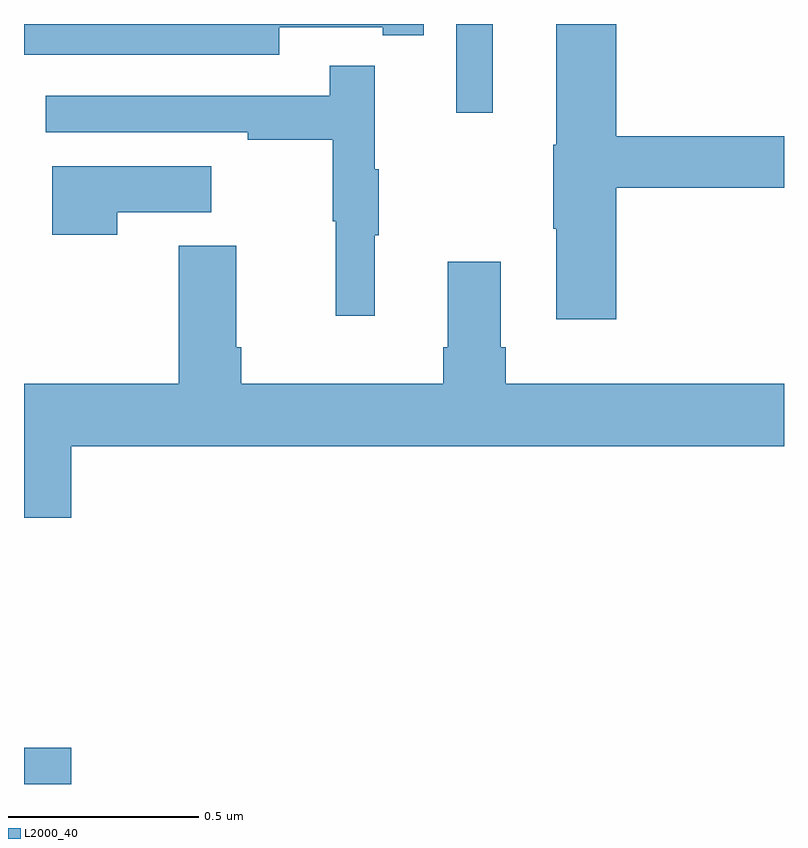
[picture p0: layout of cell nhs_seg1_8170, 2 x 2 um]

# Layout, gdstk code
import gdstk
lib = gdstk.Library(unit=1e-6, precision=1e-09)
def R(c, l, rs):  # rectangles x0, y0, x1, y1
    for r in rs: c.add(gdstk.rectangle(r[:2], r[2:], *l))
def P(c, l, *ps):  # polygons
    for p in ps: c.add(gdstk.Polygon(p, *l))
L2000_40 = (2000, 40)

nhs_seg1_8170 = lib.new_cell('nhs_seg1_8170')
R(nhs_seg1_8170, L2000_40, [(213,528.199,213.124,528.295), (214.137,529.965,214.234,530.199)])
P(nhs_seg1_8170, L2000_40, [(214.559,529.768),(215,529.768),(215,529.904),(214.559,529.904),(214.559,530.199),(214.4,530.199),(214.4,529.881),(214.393,529.881),(214.393,529.66),(214.4,529.66),(214.4,529.422),(214.559,529.422)],
  [(213.672,530.19),(213.944,530.19),(213.944,530.17),(214.052,530.17),(214.052,530.199),(213,530.199),(213,530.118),(213.672,530.118)],
  [(213.923,529.643),(213.934,529.643),(213.934,529.817),(213.923,529.817),(213.923,530.089),(213.805,530.089),(213.805,530.01),(213.057,530.01),(213.057,529.914),(213.589,529.914),(213.589,529.894),(213.813,529.894),(213.813,529.68),(213.82,529.68),(213.82,529.431),(213.923,529.431)],
  [(213.245,529.703),(213.493,529.703),(213.493,529.825),(213.074,529.825),(213.074,529.644),(213.245,529.644)],
  [(213.124,529.088),(215,529.088),(215,529.252),(214.268,529.252),(214.268,529.348),(214.255,529.348),(214.255,529.573),(214.115,529.573),(214.115,529.348),(214.103,529.348),(214.103,529.252),(213.572,529.252),(213.572,529.348),(213.559,529.348),(213.559,529.615),(213.407,529.615),(213.407,529.252),(213,529.252),(213,528.9),(213.124,528.9)])

lib.write_gds('nhs_seg1_8170.gds')
